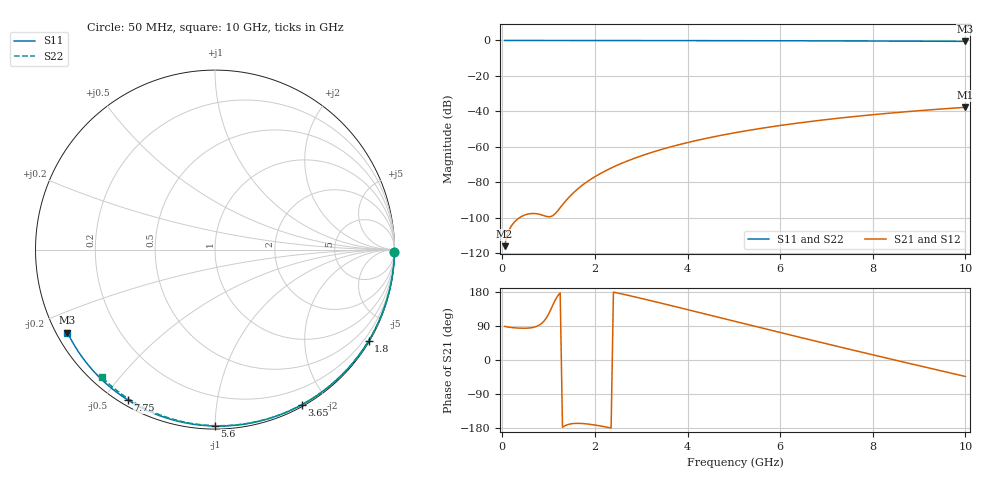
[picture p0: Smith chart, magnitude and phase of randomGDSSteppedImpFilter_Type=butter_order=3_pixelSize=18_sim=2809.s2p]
! freq	dB(S11)	phase(S11)	dB(S12)	phase(S12)
!  dB(S21)	phase(S21)	dB(S22)	phase(S22)
!S-par simulation data
#  GHz  S  DB  R 50
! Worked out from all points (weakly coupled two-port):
!   200 points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, 50 MHz to 10 GHz, reference 50 ohm
!   highest |S21| = -37.75 dB at 10 GHz (marker M1); lowest = -116.2 dB at 50 MHz (marker M2)
!   lowest |S11| = -0.5 dB at 10 GHz (marker M3), VSWR 34.11, Z = 1.57 - j13.1 ohm
!   |S11| at or under -10 dB: nowhere
!   |S22| runs from -0.4 to 0.0 dB; largest |S21 - S12| = 0
!   S11 on the Smith chart (normalised r, x): 50 MHz: open; 1.8 GHz: 0.03, -3.64; 3.65 GHz: 0.02, -1.71; 5.6 GHz: 0.02, -1.00; 7.75 GHz: 0.02, -0.58; 10 GHz: 0.03, -0.26
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0.05  -0.00 -0.9  -116.16 88.6  -116.16 88.6  -0.00 -0.8
0.45  -0.01 -7.8  -98.95 83.8  -98.95 83.8  -0.01 -6.8
0.9  -0.02 -15.5  -98.93 102.6  -98.93 102.6  -0.02 -13.6
1.3  -0.03 -22.3  -92.77 -177.5  -92.77 -177.5  -0.02 -19.6
1.75  -0.04 -29.9  -81.31 -167.8  -81.31 -167.8  -0.03 -26.2
1.8  -0.04 -30.8  -80.35 -168.4  -80.35 -168.4  -0.03 -27.0
1.85  -0.04 -31.6  -79.44 -169.0  -79.44 -169.0  -0.04 -27.7
2  -0.04 -34.1  -76.93 -171.6  -76.93 -171.6  -0.04 -29.9
2.15  -0.05 -36.6  -74.70 -174.8  -74.70 -174.8  -0.04 -32.1
2.5  -0.05 -42.3  -70.25 176.5  -70.25 176.5  -0.05 -37.1
2.9  -0.06 -48.8  -66.09 165.5  -66.09 165.5  -0.06 -42.9
3.4  -0.08 -56.8  -61.83 150.9  -61.83 150.9  -0.07 -49.9
3.65  -0.08 -60.8  -59.99 143.5  -59.99 143.5  -0.07 -53.4
4.3  -0.10 -70.8  -55.86 123.9  -55.86 123.9  -0.09 -62.3
5.05  -0.13 -82.1  -51.99 101.2  -51.99 101.2  -0.11 -72.3
5.6  -0.15 -90.1  -49.58 84.6  -49.58 84.6  -0.13 -79.4
6.15  -0.17 -98.0  -47.47 68.1  -47.47 68.1  -0.15 -86.3
6.7  -0.21 -105.7  -45.60 51.7  -45.60 51.7  -0.18 -93.1
7.75  -0.28 -120.1  -42.56 20.9  -42.56 20.9  -0.24 -105.7
8.35  -0.33 -128.3  -41.08 3.5  -41.08 3.5  -0.29 -112.7
9.2  -0.41 -139.7  -39.24 -20.8  -39.24 -20.8  -0.36 -122.4
10  -0.51 -150.6  -37.75 -43.5  -37.75 -43.5  -0.44 -131.5
